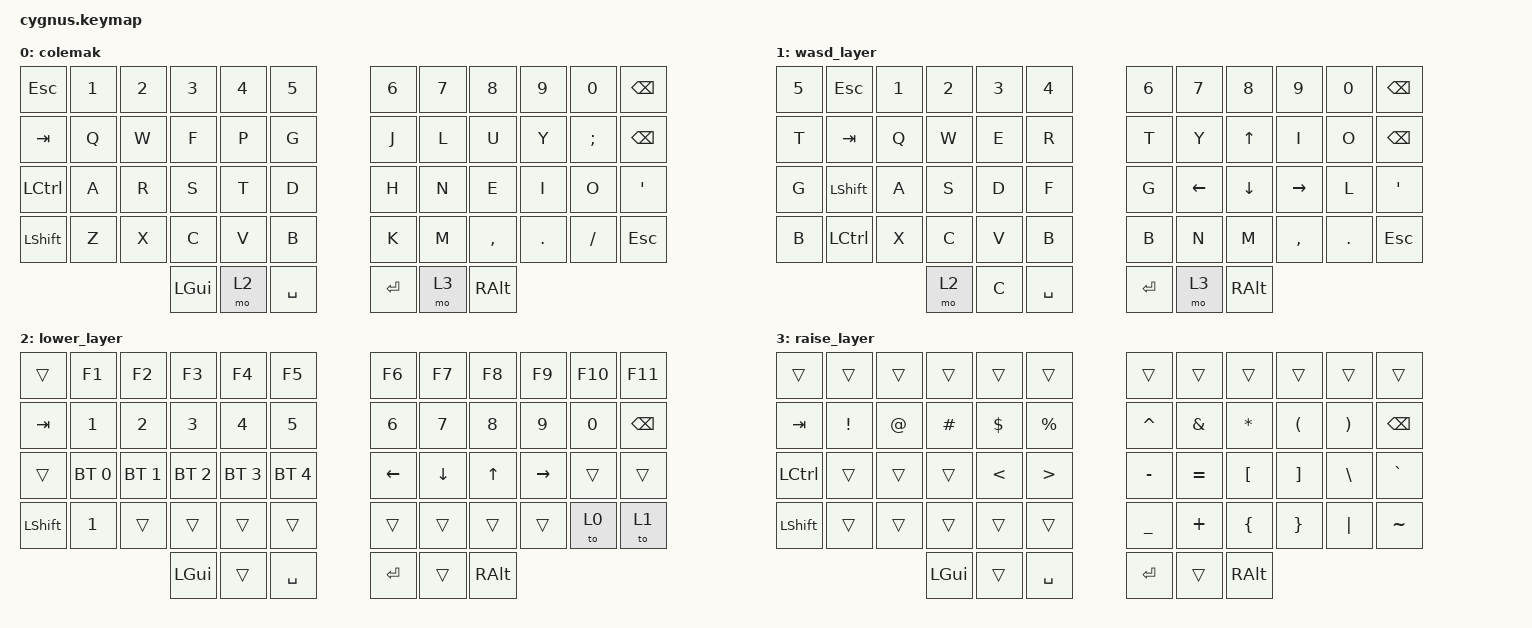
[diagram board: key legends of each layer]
#include <behaviors.dtsi>
#include <dt-bindings/zmk/bt.h>
#include <dt-bindings/zmk/keys.h>

/ {
    conditional_layers { compatible = "zmk,conditional-layers"; };

    keymap {
        compatible = "zmk,keymap";

        colemak {
            // -----------------------------------------------------------------------------------------
            // |  ESC |  1  |  2  |  3  |  4  |  5  |   |  6  |  7   |  8  |  9  |  0  |  ?   |
            // |  TAB |  Q  |  W  |  E  |  R  |  T  |   |  Y  |  U   |  I  |  O  |  P  | BKSP |
            // | CTRL |  A  |  S  |  D  |  F  |  G  |   |  H  |  J   |  K  |  L  |  ;  |  '   |
            // | SHFT |  Z  |  X  |  C  |  V  |  B  |   |  N  |  M   |  ,  |  .  |  /  | ESC  |
            //                    | GUI | LWR | SPC |   | ENT | RSE  | ALT |

            bindings = <
&kp ESCAPE  &kp N1  &kp N2  &kp N3    &kp N4  &kp N5       &kp N6   &kp N7  &kp N8     &kp N9   &kp N0    &kp BSPC
&kp TAB     &kp Q   &kp W   &kp F     &kp P   &kp G        &kp J    &kp L   &kp U      &kp Y    &kp SEMI  &kp BSPC
&kp LCTRL   &kp A   &kp R   &kp S     &kp T   &kp D        &kp H    &kp N   &kp E      &kp I    &kp O     &kp SQT
&kp LSHFT   &kp Z   &kp X   &kp C     &kp V   &kp B        &kp K    &kp M   &kp COMMA  &kp DOT  &kp FSLH  &kp ESC
                            &kp LGUI  &mo 2   &kp SPACE    &kp RET  &mo 3   &kp RALT
            >;
        };

        wasd_layer {
            // -----------------------------------------------------------------------------------------
            // | 5  |  ESC |  1  |  2  |  3  |  4  |   |  6  |  7   |  8  |  9  |  0  |  ?   |
            // | T  |  TAB |  Q  |  W  |  E  |  R  |   |  T  |  Y  |  U   |  I  |  O  | BKSP |
            // | G  | SHFT |  A  |  S  |  D  |  F  |   |  G  |  H  |  J   |  K  |  L  |  '   |
            // | B  | CTRL |  Z  |  X  |  C  |  V  |   |  B  |  N  |  M   |  ,  |  .  |  /  | ESC  |
            //                    | GUI | LWR | SPC |   | ENT | RSE  | ALT |

            bindings = <
&kp N5  &kp ESCAPE  &kp N1  &kp N2  &kp N3  &kp N4       &kp N6   &kp N7    &kp N8    &kp N9     &kp N0   &kp BSPC
&kp T   &kp TAB     &kp Q   &kp W   &kp E   &kp R        &kp T    &kp Y     &kp UP    &kp I      &kp O    &kp BSPC
&kp G   &kp LSHFT   &kp A   &kp S   &kp D   &kp F        &kp G    &kp LEFT  &kp DOWN  &kp RIGHT  &kp L    &kp SQT
&kp B   &kp LCTRL   &kp X   &kp C   &kp V   &kp B        &kp B    &kp N     &kp M     &kp COMMA  &kp DOT  &kp ESC
                            &mo 2   &kp C   &kp SPACE    &kp RET  &mo 3     &kp RALT
            >;
        };

        lower_layer {
            // -----------------------------------------------------------------------------------------
            // |  TAB |  F1 |  F2 |  F3 |  F4 |  F5 |   |  F6 |  F7 |  F8 |  F9 | F10 | BKSP |
            // |  TAB |  1  |  2  |  3  |  4  |  5  |   |  6  |  7  |  8  |  9  |  0  | BKSP |
            // | BTCLR| BT1 | BT2 | BT3 | BT4 | BT5 |   | LFT | DWN |  UP | RGT |     |      |
            // | SHFT |     |     |     |     |     |   |     |     |     |     |     |      |
            //                    | GUI |     | SPC |   | ENT |     | ALT |

            bindings = <
&trans     &kp F1        &kp F2        &kp F3        &kp F4        &kp F5          &kp F6    &kp F7    &kp F8    &kp F9     &kp F10  &kp F11
&kp TAB    &kp N1        &kp N2        &kp N3        &kp N4        &kp N5          &kp N6    &kp N7    &kp N8    &kp N9     &kp N0   &kp BSPC
&trans     &bt BT_SEL 0  &bt BT_SEL 1  &bt BT_SEL 2  &bt BT_SEL 3  &bt BT_SEL 4    &kp LEFT  &kp DOWN  &kp UP    &kp RIGHT  &trans   &trans
&kp LSHFT  &kp N1        &trans        &trans        &trans        &trans          &trans    &trans    &trans    &trans     &to 0    &to 1
                                       &kp LGUI      &trans        &kp SPACE       &kp RET   &trans    &kp RALT
            >;
        };

        raise_layer {
            // -----------------------------------------------------------------------------------------
            // |  TAB |  !  |  @  |  #  |  $  |  %  |   |  ^  |  &  |  *  |  (  |  )  | BKSP |
            // | CTRL |     |     |     |  <  |  >  |   |  -  |  =  |  [  |  ]  |  \  |  `   |
            // | SHFT |     |     |     |     |     |   |  _  |  +  |  {  |  }  | "|" |  ~   |
            //                    | GUI |     | SPC |   | ENT |     | ALT |

            bindings = <
&trans     &trans    &trans  &trans    &trans    &trans       &trans     &trans     &trans     &trans    &trans    &trans
&kp TAB    &kp EXCL  &kp AT  &kp HASH  &kp DLLR  &kp PRCNT    &kp CARET  &kp AMPS   &kp ASTRK  &kp LPAR  &kp RPAR  &kp BSPC
&kp LCTRL  &trans    &trans  &trans    &kp LT    &kp GT       &kp MINUS  &kp EQUAL  &kp LBKT   &kp RBKT  &kp BSLH  &kp GRAVE
&kp LSHFT  &trans    &trans  &trans    &trans    &trans       &kp UNDER  &kp PLUS   &kp LBRC   &kp RBRC  &kp PIPE  &kp TILDE
                             &kp LGUI  &trans    &kp SPACE    &kp RET    &trans     &kp RALT
            >;
        };
    };
};
